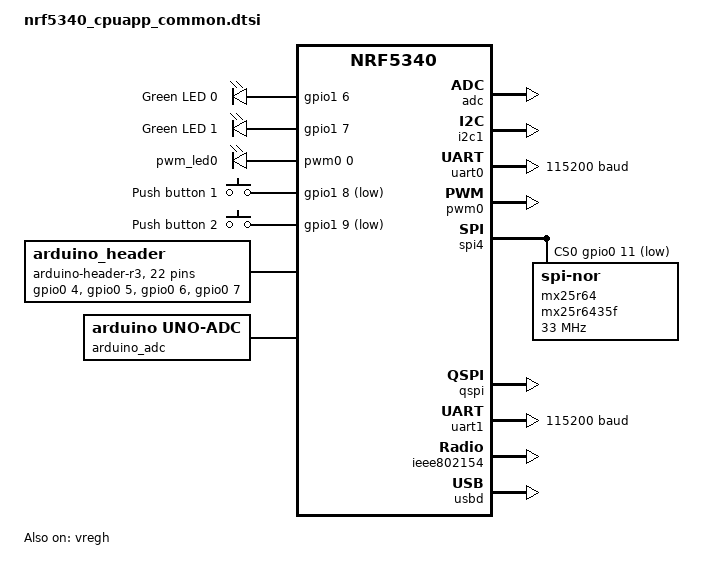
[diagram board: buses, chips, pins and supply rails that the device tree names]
/*
 * Copyright (c) 2024 Nordic Semiconductor ASA
 *
 * SPDX-License-Identifier: Apache-2.0
 */
#include "nrf5340_cpuapp_common_pinctrl.dtsi"
#include <zephyr/dt-bindings/input/input-event-codes.h>

/ {
	chosen {
		zephyr,console = &uart0;
		zephyr,shell-uart = &uart0;
		zephyr,uart-mcumgr = &uart0;
		zephyr,bt-mon-uart = &uart0;
		zephyr,bt-c2h-uart = &uart0;
		zephyr,bt-hci = &bt_hci_ipc0;
		nordic,802154-spinel-ipc = &ipc0;
		zephyr,ieee802154 = &ieee802154;
	};

	leds {
		compatible = "gpio-leds";
		led0: led_0 {
			gpios = <&gpio1 6 GPIO_ACTIVE_HIGH>;
			label = "Green LED 0";
		};
		led1: led_1 {
			gpios = <&gpio1 7 GPIO_ACTIVE_HIGH>;
			label = "Green LED 1";
		};
	};

	pwmleds {
		compatible = "pwm-leds";
		pwm_led0: pwm_led_0 {
			pwms = <&pwm0 0 PWM_MSEC(20) PWM_POLARITY_NORMAL>;
		};
	};

	buttons {
		compatible = "gpio-keys";
		button0: button_0 {
			gpios = <&gpio1 8 (GPIO_PULL_UP | GPIO_ACTIVE_LOW)>;
			label = "Push button 1";
			zephyr,code = <INPUT_KEY_0>;
		};
		button1: button_1 {
			gpios = <&gpio1 9 (GPIO_PULL_UP | GPIO_ACTIVE_LOW)>;
			label = "Push button 2";
			zephyr,code = <INPUT_KEY_1>;
		};
	};

	arduino_header: connector {
		compatible = "arduino-header-r3";
		#gpio-cells = <2>;
		gpio-map-mask = <0xffffffff 0xffffffc0>;
		gpio-map-pass-thru = <0 0x3f>;
		gpio-map = <0 0 &gpio0 4 0>,	/* A0 */
			   <1 0 &gpio0 5 0>,	/* A1 */
			   <2 0 &gpio0 6 0>,	/* A2 */
			   <3 0 &gpio0 7 0>,	/* A3 */
			   <4 0 &gpio0 25 0>,	/* A4 */
			   <5 0 &gpio0 26 0>,	/* A5 */
			   <6 0 &gpio1 0 0>,	/* D0 */
			   <7 0 &gpio1 1 0>,	/* D1 */
			   <8 0 &gpio1 4 0>,	/* D2 */
			   <9 0 &gpio1 5 0>,	/* D3 */
			   <10 0 &gpio1 6 0>,	/* D4 */
			   <11 0 &gpio1 7 0>,	/* D5 */
			   <12 0 &gpio1 8 0>,	/* D6 */
			   <13 0 &gpio1 9 0>,	/* D7 */
			   <14 0 &gpio1 10 0>,	/* D8 */
			   <15 0 &gpio1 11 0>,	/* D9 */
			   <16 0 &gpio1 12 0>,	/* D10 */
			   <17 0 &gpio1 13 0>,	/* D11 */
			   <18 0 &gpio1 14 0>,	/* D12 */
			   <19 0 &gpio1 15 0>,	/* D13 */
			   <20 0 &gpio1 2 0>,	/* D14 */
			   <21 0 &gpio1 3 0>;	/* D15 */
	};

	arduino_adc: analog-connector {
		compatible = "arduino,uno-adc";
		#io-channel-cells = <1>;
		io-channel-map = <0 &adc 0>,	/* A0 = P0.4 = AIN0 */
				 <1 &adc 1>,	/* A1 = P0.5 = AIN1 */
				 <2 &adc 2>,	/* A2 = P0.6 = AIN2 */
				 <3 &adc 3>,	/* A3 = P0.7 = AIN3 */
				 <4 &adc 4>,	/* A4 = P0.25 = AIN4 */
				 <5 &adc 5>;	/* A5 = P0.26 = AIN5 */
	};

	gpio_fwd: nrf-gpio-forwarder {
		compatible = "nordic,nrf-gpio-forwarder";
		status = "okay";
		uart {
			gpios = <&gpio1 1 0>, <&gpio1 0 0>, <&gpio1 5 0>, <&gpio1 4 0>;
		};
	};

	/* These aliases are provided for compatibility with samples */
	aliases {
		led0 = &led0;
		led1 = &led1;
		pwm-led0 = &pwm_led0;
		sw0 = &button0;
		sw1 = &button1;
		bootloader-led0 = &led0;
		mcuboot-button0 = &button0;
		mcuboot-led0 = &led0;
		watchdog0 = &wdt0;
	};
};

&vregmain {
	regulator-initial-mode = <NRF5X_REG_MODE_DCDC>;
};

&vregradio {
	regulator-initial-mode = <NRF5X_REG_MODE_DCDC>;
};

&vregh {
	status = "okay";
};

&adc {
	status = "okay";
};

&gpiote {
	status = "okay";
};

&gpio0 {
	status = "okay";
};

&gpio1 {
	status = "okay";
};

arduino_i2c: &i2c1 {
	compatible = "nordic,nrf-twim";
	status = "okay";
	pinctrl-0 = <&i2c1_default>;
	pinctrl-1 = <&i2c1_sleep>;
	pinctrl-names = "default", "sleep";
};

&uart0 {
	status = "okay";
	current-speed = <115200>;
	pinctrl-0 = <&uart0_default>;
	pinctrl-1 = <&uart0_sleep>;
	pinctrl-names = "default", "sleep";
};

&pwm0 {
	status = "okay";
	pinctrl-0 = <&pwm0_default>;
	pinctrl-1 = <&pwm0_sleep>;
	pinctrl-names = "default", "sleep";
};

&spi4 {
	compatible = "nordic,nrf-spim";
	status = "okay";
	pinctrl-0 = <&spi4_default>;
	pinctrl-1 = <&spi4_sleep>;
	pinctrl-names = "default", "sleep";
	cs-gpios = <&gpio0 11 GPIO_ACTIVE_LOW>;
	mx25r64: mx25r6435f@0 {
		compatible = "jedec,spi-nor";
		reg = <0>;
		spi-max-frequency = <33000000>;
		jedec-id = [c2 28 17];
		sfdp-bfp = [
			e5 20 f1 ff ff ff ff 03 44 eb 08 6b 08 3b 04 bb
			ee ff ff ff ff ff 00 ff ff ff 00 ff 0c 20 0f 52
			10 d8 00 ff 23 72 f5 00 82 ed 04 cc 44 83 68 44
			30 b0 30 b0 f7 c4 d5 5c 00 be 29 ff f0 d0 ff ff
		];
		size = <67108864>;
		has-dpd;
		t-enter-dpd = <10000>;
		t-exit-dpd = <5000>;
	};
};

&qspi {
	status = "okay";
	pinctrl-0 = <&qspi_default>;
	pinctrl-1 = <&qspi_sleep>;
	pinctrl-names = "default", "sleep";
};

arduino_serial: &uart1 {
	compatible = "nordic,nrf-uarte";
	current-speed = <115200>;
	pinctrl-0 = <&uart1_default>;
	pinctrl-1 = <&uart1_sleep>;
	pinctrl-names = "default", "sleep";
};

arduino_spi: &spi3 {
	compatible = "nordic,nrf-spim";
	cs-gpios = <&arduino_header 16 GPIO_ACTIVE_LOW>; /* D10 */
	pinctrl-0 = <&spi3_default>;
	pinctrl-1 = <&spi3_sleep>;
	pinctrl-names = "default", "sleep";
};

&ieee802154 {
	status = "okay";
};

zephyr_udc0: &usbd {
	compatible = "nordic,nrf-usbd";
	status = "okay";
};

/* Include default memory partition configuration file */
#include <common/nordic/nrf5340_cpuapp_partition.dtsi>
